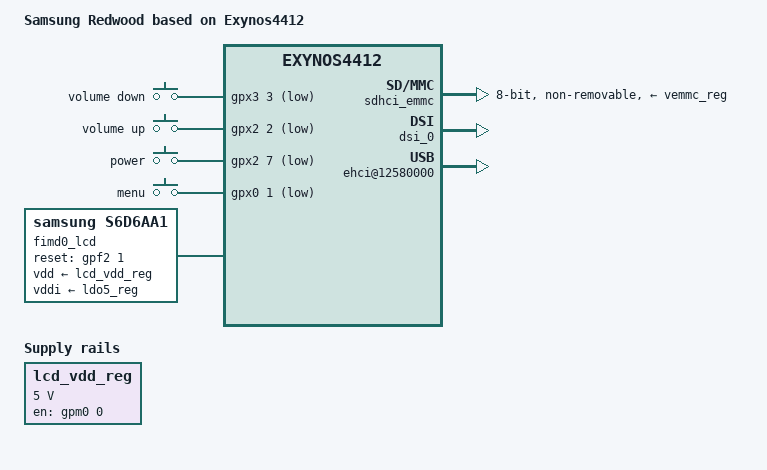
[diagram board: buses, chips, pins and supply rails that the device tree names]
/*
 * Samsung's Exynos4412 based  board device tree source
 *
 * Copyright (c) 2012 Samsung Electronics Co., Ltd.
 *		http://www.samsung.com
 *
 * Device tree source file for Samsung's Redwood board which is based on
 * Samsung's Exynos4412 SoC.
 *
 * This program is free software; you can redistribute it and/or modify
 * it under the terms of the GNU General Public License version 2 as
 * published by the Free Software Foundation.
*/

/include/ "exynos4412-slp_pq.dts"

/ {
	model = "Samsung Redwood based on Exynos4412";
	compatible = "samsung,redwood", "samsung,exynos4412";

	chosen {
		bootargs = "console=ttySAC2,115200N8 root=/dev/mmcblk0p5 rootwait earlyprintk panic=5";
	};

	sdhci_emmc: sdhci@12510000 {
		bus-width = <8>;
		non-removable;
		pinctrl-0 = <&sd0_clk &sd0_cmd &sd0_bus8>;
		pinctrl-names = "default";
		vmmc-supply = <&vemmc_reg>;
		status = "okay";
	};

	gpio-keys@0 {
		compatible = "gpio-keys";

		key@114 {
			interrupt-parent = <&gpx3>;
			interrupts = <3 0>;
			gpios = <&gpx3 3 1>;
			linux,code = <114>;
			label = "volume down";
			debounce-interval = <10>;
		};

		key@115 {
			interrupt-parent = <&gpx2>;
			interrupts = <2 0>;
			gpios = <&gpx2 2 1>;
			linux,code = <115>;
			label = "volume up";
			debounce-interval = <10>;
		};

		key@116 {
			interrupt-parent = <&gpx2>;
			interrupts = <7 0>;
			gpios = <&gpx2 7 1>;
			linux,code = <116>;
			label = "power";
			debounce-interval = <10>;
			gpio-key,wakeup;
		};

		key@139 {
			interrupt-parent = <&gpx0>;
			interrupts = <1 0>;
			gpios = <&gpx0 1 1>;
			linux,code = <139>;
			label = "menu";
			debounce-interval = <10>;
			gpio-key,wakeup;
		};
	};

	lcd_vdd_reg: voltage-regulator@1 {
	        compatible = "regulator-fixed";
		regulator-name = "LCD_VDD_5.0V";
		regulator-min-microvolt = <5000000>;
		regulator-max-microvolt = <5000000>;
		gpio = <&gpm0 0 0>;
		enable-active-high;
	};

	fimd0_lcd: panel {
		compatible = "samsung,s6d6aa1";
		reset-gpio = <&gpf2 1 0>;
		reset-delay = <100>;
		power-on-delay= <50>;
		vdd-supply = <&lcd_vdd_reg>;
		vddi-supply = <&ldo5_reg>;
		video-source = <&dsi_0>;
		flip-horizontal;
		flip-vertical;
		samsung,panel-width-mm = <59>; /* FIXME */
		samsung,panel-height-mm = <105>; /* FIXME */

		display-timings {
			native-mode = <&timing0>;

			timing0: timing-0 {
				clock-frequency = <0>;
				hactive = <720>;
				vactive = <1280>;
				hfront-porch = <60>;
				hback-porch = <60>;
				hsync-len = <3>;
				vfront-porch = <36>;
				vback-porch = <2>;
				vsync-len = <2>;
			};
		};
	};

	dsi_0: dsi@11C80000 {
		samsung,pll-stable-time = <500>;
		samsung,stop-holding-count = <0x7ff>;
		samsung,bta-timeout = <0xff>;
		samsung,rx-timeout = <0xffff>;
		samsung,pll-clk-freq = <24000000>;
		samsung,cmd-allow = <0xf>;
		vdd11-supply = <&ldo8_reg>;
		vdd18-supply = <&ldo10_reg>;
		status = "okay";
	};

	fimd@11c00000 {
		samsung,fimd-display = <&fimd0_lcd>;
		samsung,fimd-vidout-rgb;
		samsung,fimd-inv-vclk;
		samsung,fimd-frame-rate = <60>;
		samsung,default-window = <3>;
		samsung,fimd-win-bpp = <32>;
		status = "okay";
	};

	rotator: rotator@12810000 {
		status = "okay";
	};

	cpufreq {
		freq_table;
		status = "okay";
	};

	tmu@100C0000 {
		vdd_ts-supply = <&ldo10_reg>;
		status = "okay";
	};

	ehci@12580000 {
		status = "okay";
	};


};

&pinctrl_1 {
	modem_state_active: modem-state-active {
		samsung,pins = "gpx1-6", "gpx1-1", "gpx1-2";
		samsung,pin-pud = <0>;
	};
	modem_state_off: modem-state-off {
		samsung,pins = "gpx1-6", "gpx1-1", "gpx1-2";
		samsung,pin-pud = <1>;
	};
};
